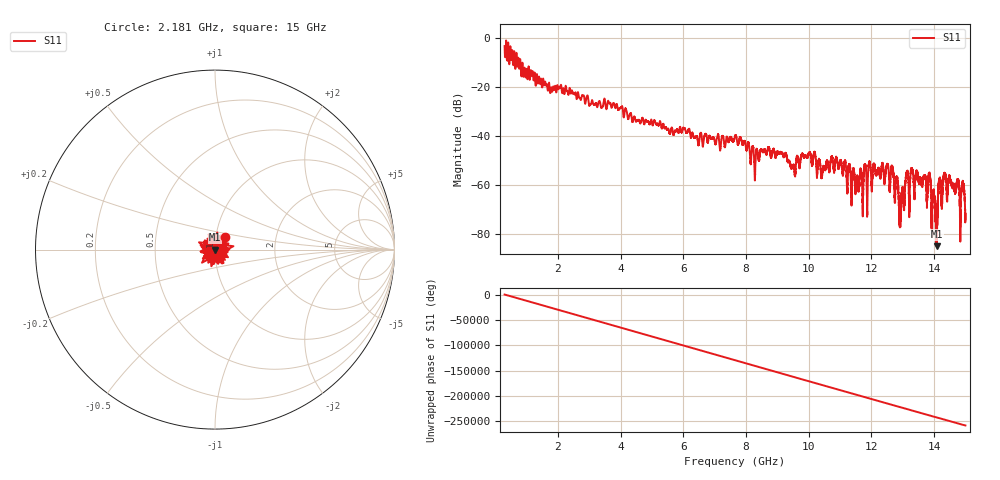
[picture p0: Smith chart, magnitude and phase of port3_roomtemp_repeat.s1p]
# GHZ S RI R 50.0
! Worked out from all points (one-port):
!   12801 points, 300 MHz to 15 GHz, reference 50 ohm
!   lowest |S11| = -85.0 dB at 14.08 GHz (marker M1), VSWR 1.00, Z = 50 - j0.00564 ohm
!   |S11| at or under -10 dB: 622.5 MHz to 659.4 MHz (36.86 MHz wide, 5.75 % of centre); 747.9 MHz to 787.8 MHz (39.83 MHz wide, 5.19 % of centre); 803.8 MHz to end of sweep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
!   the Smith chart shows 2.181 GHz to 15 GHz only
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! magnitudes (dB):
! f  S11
! 300 MHz  -3.4
! 963.8 MHz  -16.1
! 2.138 GHz  -22.6
! 3.975 GHz  -28.8
! 5.812 GHz  -37.4
! 6.445 GHz  -40.7
! 7.65 GHz  -40.2
! 8.223 GHz  -44.4
! 9.072 GHz  -47.1
! 9.488 GHz  -52.1
! 9.996 GHz  -47.4
! 10.45 GHz  -53.4
! 10.93 GHz  -51.7
! 11.32 GHz  -53.2
! 11.67 GHz  -54.5
! 11.97 GHz  -52.3
! 12.5 GHz  -51.8
! 12.67 GHz  -52.8
! 12.93 GHz  -70.5
! 13.16 GHz  -55.0
! 13.69 GHz  -56.0
! 13.85 GHz  -56.4
! 13.99 GHz  -63.2
! 14.08 GHz  -85.0
! 14.17 GHz  -58.1
! 14.34 GHz  -55.3
! 14.92 GHz  -58.7
! 15 GHz  -74.1
